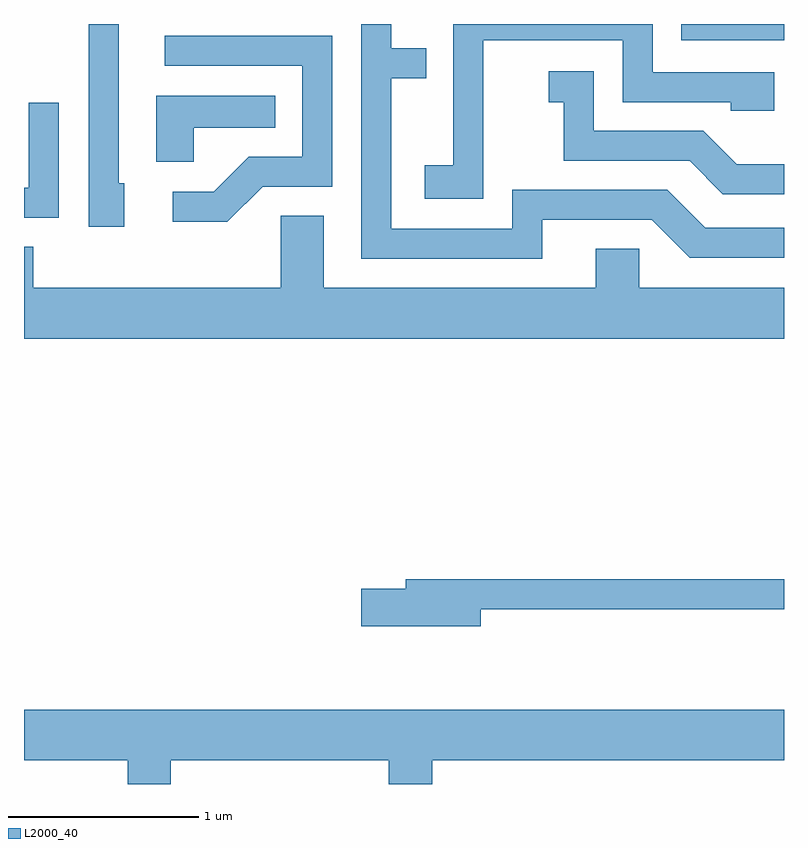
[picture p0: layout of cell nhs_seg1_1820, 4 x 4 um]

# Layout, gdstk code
import gdstk
lib = gdstk.Library(unit=1e-6, precision=1e-09)
def R(c, l, rs):  # rectangles x0, y0, x1, y1
    for r in rs: c.add(gdstk.rectangle(r[:2], r[2:], *l))
def P(c, l, *ps):  # polygons
    for p in ps: c.add(gdstk.Polygon(p, *l))
L2000_40 = (2000, 40)

nhs_seg1_1820 = lib.new_cell('nhs_seg1_1820')
R(nhs_seg1_1820, L2000_40, [(245.071,865.626,245.611,865.712)])
P(nhs_seg1_1820, L2000_40, [(244.029,865.626),(244.761,865.626),(244.761,865.301),(245.331,865.301),(245.331,865.256),(245.559,865.256),(245.559,865.459),(244.919,865.459),(244.919,865.712),(243.871,865.712),(243.871,864.969),(243.721,864.969),(243.721,864.791),(244.029,864.791)],
  [(242.139,864.874),(242.109,864.874),(242.109,865.712),(241.951,865.712),(241.951,864.646),(242.139,864.646)],
  [(244.339,864.681),(244.914,864.681),(245.114,864.481),(245.611,864.481),(245.611,864.639),(245.197,864.639),(244.997,864.839),(244.181,864.839),(244.181,864.634),(243.544,864.634),(243.544,865.426),(243.728,865.426),(243.728,865.584),(243.544,865.584),(243.544,865.712),(243.386,865.712),(243.386,864.476),(244.339,864.476)],
  [(242.867,864.856),(243.234,864.856),(243.234,865.649),(242.353,865.649),(242.353,865.491),(243.076,865.491),(243.076,865.014),(242.794,865.014),(242.609,864.829),(242.393,864.829),(242.393,864.671),(242.682,864.671)],
  [(245.611,864.974),(245.362,864.974),(245.187,865.149),(244.609,865.149),(244.609,865.464),(244.373,865.464),(244.373,865.301),(244.451,865.301),(244.451,864.991),(245.114,864.991),(245.289,864.816),(245.611,864.816)],
  [(242.504,865.166),(242.933,865.166),(242.933,865.334),(242.306,865.334),(242.306,864.986),(242.504,864.986)],
  [(241.794,865.298),(241.636,865.298),(241.636,864.849),(241.611,864.849),(241.611,864.691),(241.794,864.691)],
  [(245.611,864.324),(244.849,864.324),(244.849,864.529),(244.621,864.529),(244.621,864.324),(243.189,864.324),(243.189,864.704),(242.961,864.704),(242.961,864.324),(241.659,864.324),(241.659,864.539),(241.611,864.539),(241.611,864.056),(245.611,864.056)],
  [(244.014,862.631),(245.611,862.631),(245.611,862.789),(243.621,862.789),(243.621,862.739),(243.386,862.739),(243.386,862.541),(244.014,862.541)],
  [(242.384,861.836),(243.531,861.836),(243.531,861.712),(243.759,861.712),(243.759,861.836),(245.611,861.836),(245.611,862.104),(241.611,862.104),(241.611,861.836),(242.156,861.836),(242.156,861.712),(242.384,861.712)])

lib.write_gds('nhs_seg1_1820.gds')
